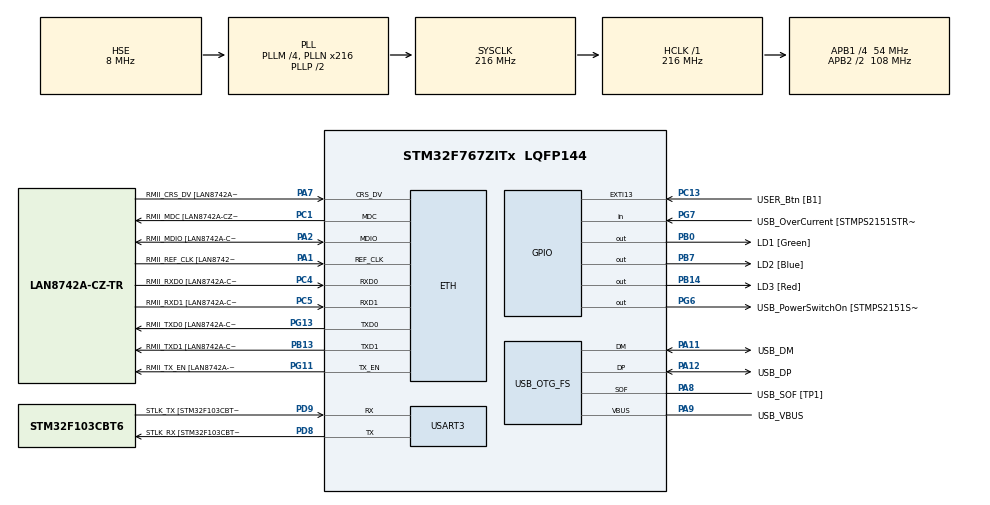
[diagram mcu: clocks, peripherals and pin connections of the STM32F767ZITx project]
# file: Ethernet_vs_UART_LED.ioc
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Dma.Request0=USART3_TX
Dma.USART3_TX.0.Direction=DMA_MEMORY_TO_PERIPH
Dma.USART3_TX.0.FIFOMode=DMA_FIFOMODE_DISABLE
Dma.USART3_TX.0.Instance=DMA1_Stream3
Dma.USART3_TX.0.MemDataAlignment=DMA_MDATAALIGN_BYTE
Dma.USART3_TX.0.MemInc=DMA_MINC_ENABLE
Dma.USART3_TX.0.Mode=DMA_NORMAL
Dma.USART3_TX.0.PeriphDataAlignment=DMA_PDATAALIGN_BYTE
Dma.USART3_TX.0.PeriphInc=DMA_PINC_DISABLE
Dma.USART3_TX.0.Priority=DMA_PRIORITY_LOW
ETH.MediaInterface=HAL_ETH_RMII_MODE
ETH.PHY_Name=LAN8742A_PHY_ADDRESS
ETH.PHY_Value=0
ETH.PhyAddress=0
LWIP.BSP.number=1
LWIP.GATEWAY_ADDRESS=102.168.000.001
LWIP.IP_ADDRESS=192.168.001.025
LWIP.LWIP_DHCP=0
LWIP.LWIP_HTTPD=1
LWIP.NETMASK_ADDRESS=255.255.255.000
LWIP.Version=v2.1.2_Cube
LWIP0.BSP.STBoard=false
LWIP0.BSP.api=BSP_COMPONENT_DRIVER
LWIP0.BSP.component=LAN8742
LWIP0.BSP.instance=LAN8742
LWIP0.BSP.name=Driver_PHY
LWIP0.BSP.semaphore=S_LAN8742
LWIP0.BSP.solution=LAN8742
Mcu.Family=STM32F7
Mcu.Name=STM32F767ZITx
Mcu.Package=LQFP144
NVIC.DMA1_Stream3_IRQn=true\:0\:0\:false\:false\:true\:false\:true\:true
NVIC.PriorityGroup=NVIC_PRIORITYGROUP_4
NVIC.USART3_IRQn=true\:0\:0\:false\:false\:true\:true\:true\:true
PA1.GPIO_Label=RMII_REF_CLK [LAN8742A-CZ-TR_REFCLK0]
PA1.Mode=RMII
PA1.Signal=ETH_REF_CLK
PA10.GPIO_Label=USB_ID
PA10.Signal=USB_OTG_FS_ID
PA11.GPIO_Label=USB_DM
PA11.Mode=Device_Only
PA11.Signal=USB_OTG_FS_DM
PA12.GPIO_Label=USB_DP
PA12.Mode=Device_Only
PA12.Signal=USB_OTG_FS_DP
PA13.GPIO_Label=TMS
PA13.Mode=Serial_Wire
PA13.Signal=SYS_JTMS-SWDIO
PA14.GPIO_Label=TCK
PA14.Mode=Serial_Wire
PA14.Signal=SYS_JTCK-SWCLK
PA2.GPIO_Label=RMII_MDIO [LAN8742A-CZ-TR_MDIO]
PA2.Mode=RMII
PA2.Signal=ETH_MDIO
PA7.GPIO_Label=RMII_CRS_DV [LAN8742A-CZ-TR_CRS_DV]
PA7.Mode=RMII
PA7.Signal=ETH_CRS_DV
PA8.GPIO_Label=USB_SOF [TP1]
PA8.Mode=Activate_SOF_FS
PA8.Signal=USB_OTG_FS_SOF
PA9.GPIO_Label=USB_VBUS
PA9.Mode=Activate_VBUS
PA9.Signal=USB_OTG_FS_VBUS
PB0.GPIO_Label=LD1 [Green]
PB0.Signal=GPIO_Output
PB13.GPIO_Label=RMII_TXD1 [LAN8742A-CZ-TR_TXD1]
PB13.Mode=RMII
PB13.Signal=ETH_TXD1
PB14.GPIO_Label=LD3 [Red]
PB14.Signal=GPIO_Output
PB3.GPIO_Label=SWO
PB3.Signal=SYS_JTDO-SWO
PB7.GPIO_Label=LD2 [Blue]
PB7.Signal=GPIO_Output
PC1.GPIO_Label=RMII_MDC [LAN8742A-CZ-TR_MDC]
PC1.Mode=RMII
PC1.Signal=ETH_MDC
PC13.GPIO_Label=USER_Btn [B1]
PC13.Signal=GPXTI13
PC14/OSC32_IN.Mode=LSE-External-Oscillator
PC14/OSC32_IN.Signal=RCC_OSC32_IN
PC15/OSC32_OUT.Mode=LSE-External-Oscillator
PC15/OSC32_OUT.Signal=RCC_OSC32_OUT
PC4.GPIO_Label=RMII_RXD0 [LAN8742A-CZ-TR_RXD0]
PC4.Mode=RMII
PC4.Signal=ETH_RXD0
PC5.GPIO_Label=RMII_RXD1 [LAN8742A-CZ-TR_RXD1]
PC5.Mode=RMII
PC5.Signal=ETH_RXD1
PD8.GPIO_Label=STLK_RX [STM32F103CBT6_PA3]
PD8.Mode=Asynchronous
PD8.Signal=USART3_TX
PD9.GPIO_Label=STLK_TX [STM32F103CBT6_PA2]
PD9.Mode=Asynchronous
PD9.Signal=USART3_RX
PG11.GPIO_Label=RMII_TX_EN [LAN8742A-CZ-TR_TXEN]
PG11.Mode=RMII
PG11.Signal=ETH_TX_EN
PG13.GPIO_Label=RMII_TXD0 [LAN8742A-CZ-TR_TXD0]
PG13.Mode=RMII
PG13.Signal=ETH_TXD0
PG6.GPIO_Label=USB_PowerSwitchOn [STMPS2151STR_EN]
PG6.Signal=GPIO_Output
PG7.GPIO_Label=USB_OverCurrent [STMPS2151STR_FAULT]
PG7.Signal=GPIO_Input
PH0/OSC_IN.GPIO_Label=MCO [STM32F103CBT6_PA8]
PH0/OSC_IN.Mode=HSE-External-Clock-Source
PH0/OSC_IN.Signal=RCC_OSC_IN
PH1/OSC_OUT.Mode=HSE-External-Clock-Source
PH1/OSC_OUT.Signal=RCC_OSC_OUT
ProjectManager.HeapSize=0x200
ProjectManager.StackSize=0x400
ProjectManager.TargetToolchain=STM32CubeIDE
RCC.48MHZClocksFreq_Value=24000000
RCC.AHBFreq_Value=216000000
RCC.APB1CLKDivider=RCC_HCLK_DIV4
RCC.APB1Freq_Value=54000000
RCC.APB1TimFreq_Value=108000000
RCC.APB2CLKDivider=RCC_HCLK_DIV2
RCC.APB2Freq_Value=108000000
RCC.APB2TimFreq_Value=216000000
RCC.CortexFreq_Value=216000000
RCC.HCLKFreq_Value=216000000
RCC.HSE_VALUE=8000000
RCC.HSI_VALUE=16000000
RCC.PLLM=4
RCC.PLLMUL=RCC_PLL_MUL9
RCC.PLLN=216
RCC.PLLQ=9
RCC.PRESCALERUSB=RCC_USBCLKSOURCE_PLL_DIV1_5
RCC.SYSCLKFreq_VALUE=216000000
RCC.SYSCLKSource=RCC_SYSCLKSOURCE_PLLCLK
RCC.SYSCLKSourceVirtual=RCC_SYSCLKSOURCE_PLLCLK
RCC.USBFreq_Value=48000000
RCC.VCOOutputFreq_Value=432000000
USART3.VirtualMode-Asynchronous=VM_ASYNC
USB_OTG_FS.VirtualMode=Device_Only
VP_LWIP_VS_Enabled.Mode=Enabled
board=NUCLEO-F767ZI

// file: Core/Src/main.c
/* USER CODE BEGIN Header */
/**
  ******************************************************************************
  * @file           : main.c
  * @brief          : Main program body
  ******************************************************************************
  * @attention
  *
  * Copyright (c) 2025 STMicroelectronics.
  * All rights reserved.
  *
  * This software is licensed under terms that can be found in the LICENSE file
  * in the root directory of this software component.
  * If no LICENSE file comes with this software, it is provided AS-IS.
  *
  ******************************************************************************
  */
/* USER CODE END Header */
#include "main.h"
#include "lwip.h"

/* USER CODE BEGIN Includes */
#include "lwip/udp.h" // for Ethernet
/* USER CODE END Includes */

UART_HandleTypeDef huart3;
DMA_HandleTypeDef hdma_usart3_tx;

PCD_HandleTypeDef hpcd_USB_OTG_FS;

/* USER CODE BEGIN PV */
uint8_t uart_rx_byte; // variable for UART

struct udp_pcb *udp_recv_pcb; //for Ethernet
/* USER CODE END PV */

void SystemClock_Config(void);
static void MX_GPIO_Init(void);
static void MX_DMA_Init(void);
static void MX_USART3_UART_Init(void);
static void MX_USB_OTG_FS_PCD_Init(void);

/* USER CODE BEGIN 0 */
//for EThernet
void udp_receive_callback(void *arg, struct udp_pcb *pcb, struct pbuf *p, const ip_addr_t *addr, u16_t port)
{
  if (p != NULL)
  {
    // Простой разбор входящих данных
    if (p->len >= 1)
    {
      char command = ((char *)p->payload)[0];
      if (command == '1') {
        HAL_GPIO_WritePin(GPIOB, GPIO_PIN_0, GPIO_PIN_SET); // ВКЛ
      }
      else if (command == '0') {
        HAL_GPIO_WritePin(GPIOB, GPIO_PIN_0, GPIO_PIN_RESET); // ВЫКЛ
      }
    }

    pbuf_free(p); // Освобождаем буфер
  }
}
/* USER CODE END 0 */

int main(void)
{

  /* MCU Configuration--------------------------------------------------------*/

  /* Reset of all peripherals, Initializes the Flash interface and the Systick. */
  HAL_Init();

  /* Configure the system clock */
  SystemClock_Config();

  /* Initialize all configured peripherals */
  MX_GPIO_Init();
  MX_DMA_Init();
  MX_USART3_UART_Init();
  MX_USB_OTG_FS_PCD_Init();
  MX_LWIP_Init();
  /* USER CODE BEGIN 2 */
  HAL_UART_Receive_IT(&huart3, &uart_rx_byte, 1);  //for UART

  udp_recv_pcb = udp_new();
  if (udp_recv_pcb != NULL)
  {
    err_t err = udp_bind(udp_recv_pcb, IP_ADDR_ANY, 1234); // порт 1234 — можно изменить
    if (err == ERR_OK)
    {
      udp_recv(udp_recv_pcb, udp_receive_callback, NULL);
    }
  }

  /* USER CODE END 2 */

  /* Infinite loop */
  while (1)
  {
	  MX_LWIP_Process();  //For Ethernet
  }
}

void SystemClock_Config(void)
{
  RCC_OscInitTypeDef RCC_OscInitStruct = {0};
  RCC_ClkInitTypeDef RCC_ClkInitStruct = {0};

  /** Configure LSE Drive Capability
  */
  HAL_PWR_EnableBkUpAccess();

  /** Configure the main internal regulator output voltage
  */
  __HAL_RCC_PWR_CLK_ENABLE();
  __HAL_PWR_VOLTAGESCALING_CONFIG(PWR_REGULATOR_VOLTAGE_SCALE1);

  /** Initializes the RCC Oscillators according to the specified parameters
  * in the RCC_OscInitTypeDef structure.
  */
  RCC_OscInitStruct.OscillatorType = RCC_OSCILLATORTYPE_HSE;
  RCC_OscInitStruct.HSEState = RCC_HSE_BYPASS;
  RCC_OscInitStruct.PLL.PLLState = RCC_PLL_ON;
  RCC_OscInitStruct.PLL.PLLSource = RCC_PLLSOURCE_HSE;
  RCC_OscInitStruct.PLL.PLLM = 4;
  RCC_OscInitStruct.PLL.PLLN = 216;
  RCC_OscInitStruct.PLL.PLLP = RCC_PLLP_DIV2;
  RCC_OscInitStruct.PLL.PLLQ = 9;
  RCC_OscInitStruct.PLL.PLLR = 2;
  if (HAL_RCC_OscConfig(&RCC_OscInitStruct) != HAL_OK)
  {
    Error_Handler();
  }

  /** Activate the Over-Drive mode
  */
  if (HAL_PWREx_EnableOverDrive() != HAL_OK)
  {
    Error_Handler();
  }

  /** Initializes the CPU, AHB and APB buses clocks
  */
  RCC_ClkInitStruct.ClockType = RCC_CLOCKTYPE_HCLK|RCC_CLOCKTYPE_SYSCLK
                              |RCC_CLOCKTYPE_PCLK1|RCC_CLOCKTYPE_PCLK2;
  RCC_ClkInitStruct.SYSCLKSource = RCC_SYSCLKSOURCE_PLLCLK;
  RCC_ClkInitStruct.AHBCLKDivider = RCC_SYSCLK_DIV1;
  RCC_ClkInitStruct.APB1CLKDivider = RCC_HCLK_DIV4;
  RCC_ClkInitStruct.APB2CLKDivider = RCC_HCLK_DIV2;

  if (HAL_RCC_ClockConfig(&RCC_ClkInitStruct, FLASH_LATENCY_7) != HAL_OK)
  {
    Error_Handler();
  }
}

static void MX_USART3_UART_Init(void)
{

  huart3.Instance = USART3;
  huart3.Init.BaudRate = 115200;
  huart3.Init.WordLength = UART_WORDLENGTH_8B;
  huart3.Init.StopBits = UART_STOPBITS_1;
  huart3.Init.Parity = UART_PARITY_NONE;
  huart3.Init.Mode = UART_MODE_TX_RX;
  huart3.Init.HwFlowCtl = UART_HWCONTROL_NONE;
  huart3.Init.OverSampling = UART_OVERSAMPLING_16;
  huart3.Init.OneBitSampling = UART_ONE_BIT_SAMPLE_DISABLE;
  huart3.AdvancedInit.AdvFeatureInit = UART_ADVFEATURE_NO_INIT;
  if (HAL_UART_Init(&huart3) != HAL_OK)
  {
    Error_Handler();
  }

}

static void MX_USB_OTG_FS_PCD_Init(void)
{

  hpcd_USB_OTG_FS.Instance = USB_OTG_FS;
  hpcd_USB_OTG_FS.Init.dev_endpoints = 6;
  hpcd_USB_OTG_FS.Init.speed = PCD_SPEED_FULL;
  hpcd_USB_OTG_FS.Init.dma_enable = DISABLE;
  hpcd_USB_OTG_FS.Init.phy_itface = PCD_PHY_EMBEDDED;
  hpcd_USB_OTG_FS.Init.Sof_enable = ENABLE;
  hpcd_USB_OTG_FS.Init.low_power_enable = DISABLE;
  hpcd_USB_OTG_FS.Init.lpm_enable = DISABLE;
  hpcd_USB_OTG_FS.Init.vbus_sensing_enable = ENABLE;
  hpcd_USB_OTG_FS.Init.use_dedicated_ep1 = DISABLE;
  if (HAL_PCD_Init(&hpcd_USB_OTG_FS) != HAL_OK)
  {
    Error_Handler();
  }

}

static void MX_DMA_Init(void)
{

  /* DMA controller clock enable */
  __HAL_RCC_DMA1_CLK_ENABLE();

  /* DMA interrupt init */
  /* DMA1_Stream3_IRQn interrupt configuration */
  HAL_NVIC_SetPriority(DMA1_Stream3_IRQn, 0, 0);
  HAL_NVIC_EnableIRQ(DMA1_Stream3_IRQn);

}

static void MX_GPIO_Init(void)
{
  GPIO_InitTypeDef GPIO_InitStruct = {0};

  /* GPIO Ports Clock Enable */
  __HAL_RCC_GPIOC_CLK_ENABLE();
  __HAL_RCC_GPIOH_CLK_ENABLE();
  __HAL_RCC_GPIOA_CLK_ENABLE();
  __HAL_RCC_GPIOB_CLK_ENABLE();
  __HAL_RCC_GPIOD_CLK_ENABLE();
  __HAL_RCC_GPIOG_CLK_ENABLE();

  /*Configure GPIO pin Output Level */
  HAL_GPIO_WritePin(GPIOB, LD1_Pin|LD3_Pin|LD2_Pin, GPIO_PIN_RESET);

  /*Configure GPIO pin Output Level */
  HAL_GPIO_WritePin(USB_PowerSwitchOn_GPIO_Port, USB_PowerSwitchOn_Pin, GPIO_PIN_RESET);

  /*Configure GPIO pin : USER_Btn_Pin */
  GPIO_InitStruct.Pin = USER_Btn_Pin;
  GPIO_InitStruct.Mode = GPIO_MODE_IT_RISING;
  GPIO_InitStruct.Pull = GPIO_NOPULL;
  HAL_GPIO_Init(USER_Btn_GPIO_Port, &GPIO_InitStruct);

  /*Configure GPIO pins : LD1_Pin LD3_Pin LD2_Pin */
  GPIO_InitStruct.Pin = LD1_Pin|LD3_Pin|LD2_Pin;
  GPIO_InitStruct.Mode = GPIO_MODE_OUTPUT_PP;
  GPIO_InitStruct.Pull = GPIO_NOPULL;
  GPIO_InitStruct.Speed = GPIO_SPEED_FREQ_LOW;
  HAL_GPIO_Init(GPIOB, &GPIO_InitStruct);

  /*Configure GPIO pin : USB_PowerSwitchOn_Pin */
  GPIO_InitStruct.Pin = USB_PowerSwitchOn_Pin;
  GPIO_InitStruct.Mode = GPIO_MODE_OUTPUT_PP;
  GPIO_InitStruct.Pull = GPIO_NOPULL;
  GPIO_InitStruct.Speed = GPIO_SPEED_FREQ_LOW;
  HAL_GPIO_Init(USB_PowerSwitchOn_GPIO_Port, &GPIO_InitStruct);

  /*Configure GPIO pin : USB_OverCurrent_Pin */
  GPIO_InitStruct.Pin = USB_OverCurrent_Pin;
  GPIO_InitStruct.Mode = GPIO_MODE_INPUT;
  GPIO_InitStruct.Pull = GPIO_NOPULL;
  HAL_GPIO_Init(USB_OverCurrent_GPIO_Port, &GPIO_InitStruct);

}

/* USER CODE BEGIN 4 */
void HAL_UART_RxCpltCallback(UART_HandleTypeDef *huart)
{
  if (huart->Instance == USART3)
  {
    if (uart_rx_byte == '1')
    {
      HAL_GPIO_WritePin(GPIOB, LD2_Pin, GPIO_PIN_SET);   // Blue ON
    }
    else if (uart_rx_byte == '0')
    {
      HAL_GPIO_WritePin(GPIOB, LD2_Pin, GPIO_PIN_RESET); // Blue OFF
    }
    // игнорируй '\r' и '\n' (терминал часто шлёт 1\r\n)

    HAL_UART_Receive_IT(&huart3, &uart_rx_byte, 1); // перезапуск приёма
  }
}
/* USER CODE END 4 */

void Error_Handler(void)
{
  __disable_irq();
  while (1)
  {
  }
}
